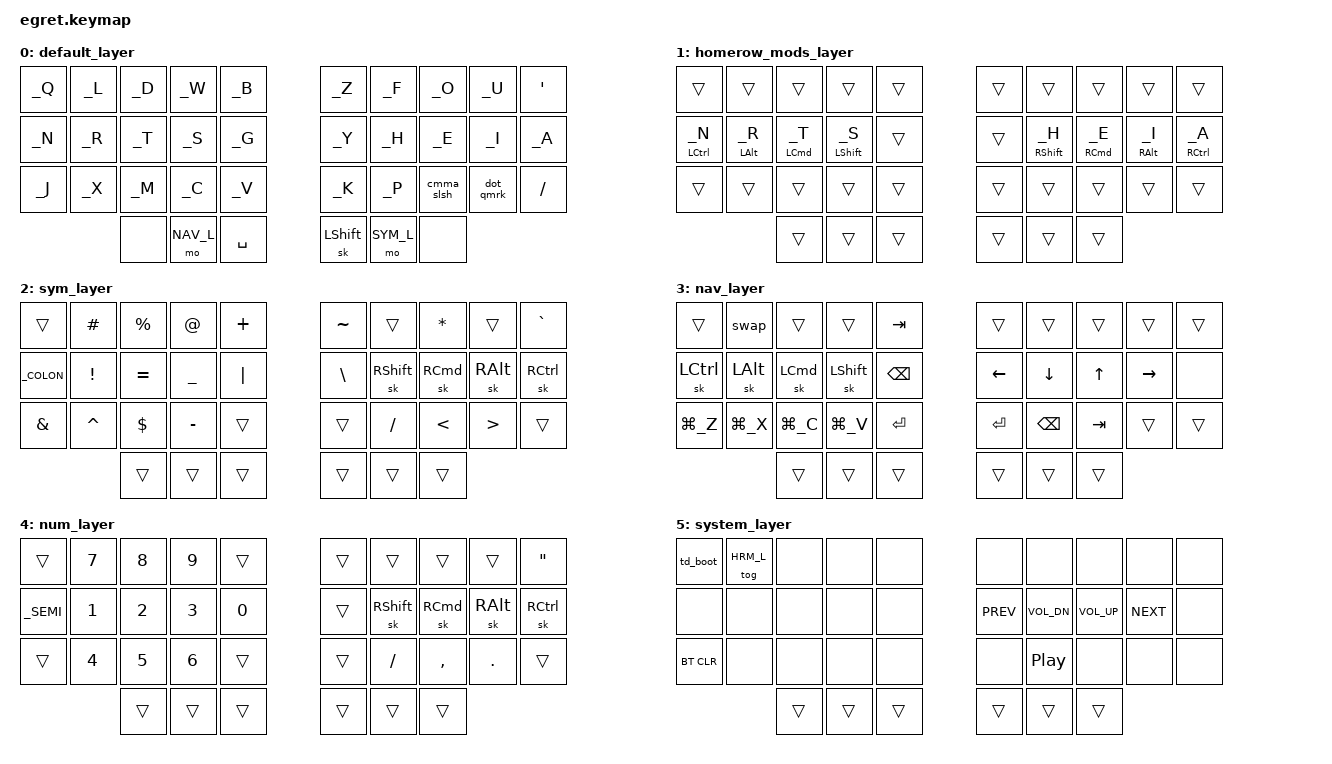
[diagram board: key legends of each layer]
/*
 * Copyright (c) 2022 The ZMK Contributors
 *
 * SPDX-License-Identifier: MIT
 */

#include <behaviors.dtsi>
#include <dt-bindings/zmk/keys.h>
#include <dt-bindings/zmk/rgb.h>
#include <dt-bindings/zmk/bt.h>

// Use Vallium layout but map it in the OS
#ifndef KEYMAP_DRAWER
#include "keys_vallium.h"
#endif

/* Key positions
0  1  2  3  4         5  6  7  8  9
10 11 12 13 14        15 16 17 18 19
20 21 22 23 24        25 26 27 28 29
         30 31 32  33 34 35             */

#define KEYS_L 0 1 2 3 4 10 11 12 13 14 20 21 22 23 24
#define KEYS_R 5 6 7 8 9 15 16 17 18 19 25 26 27 28 29
#define KEYS_T 30 31 33 33 34 35

#define DEF_L 0
#define HRM_L 1
#define SYM_L 2
#define NAV_L 3
#define NUM_L 4
#define SYS_L 5

#define NON_SYS_LAYERS DEF_L HRM_L SYM_L NAV_L NUM_L

// How long a key must be pressed to trigger Hold behavior
#define HRM_TERM 280
// If you press a tapped hold-tap again within quick-tap-ms milliseconds of the
// first press, it will always trigger the tap behavior
#define HRM_QUICK_TAP 175
// This effectively disables the hold-tap when typing quickly. As a rule of
// thumb, you want to set it to at least 10500/x where x is your (relaxed) WPM
#define HRM_IDLE (10500 / 50)

&sk {  // sticky-key config
    release-after-ms = <900>;  // release after 0.6s
    quick-release;             // no double capitalization when rolling keys
};

/ {
    behaviors {
        hml: homerow_mods_left {
            compatible = "zmk,behavior-hold-tap";
            #binding-cells = <2>;
            flavor = "balanced";
            tapping-term-ms = <HRM_TERM>;
            quick-tap-ms = <HRM_QUICK_TAP>;
            require-prior-idle-ms = <HRM_IDLE>;
            bindings = <&kp>, <&kp>;
            hold-trigger-key-positions = <KEYS_R KEYS_T>;
            hold-trigger-on-release;             // delay positional check until key-release
        };

        hmr: homerow_mods_right {
            compatible = "zmk,behavior-hold-tap";
            #binding-cells = <2>;
            flavor = "balanced";
            tapping-term-ms = <HRM_TERM>;
            quick-tap-ms = <HRM_QUICK_TAP>;
            require-prior-idle-ms = <HRM_IDLE>;
            bindings = <&kp>, <&kp>;
            hold-trigger-key-positions = <KEYS_L KEYS_T>;
            hold-trigger-on-release;             // delay positional check until key-release
        };

        cmma_slsh: comma_slash {
            compatible = "zmk,behavior-mod-morph";
            #binding-cells = <0>;
            bindings = <&kp COMMA>, <&kp FSLH>;
            mods = <(MOD_LSFT|MOD_RSFT)>;
            keep-mods = <(MOD_RSFT)>;
        };

        dot_qmrk: dot_question_mark {
            compatible = "zmk,behavior-mod-morph";
            #binding-cells = <0>;
            bindings = <&kp PERIOD>, <&kp QMARK>;
            mods = <(MOD_LSFT|MOD_RSFT)>;
            keep-mods = <(MOD_RSFT)>;
        };

        td_boot: double_tap_bootloader {
            compatible = "zmk,behavior-tap-dance";
            #binding-cells = <0>;
            tapping-term-ms = <200>;
            bindings = <&none>, <&bootloader>;
        };

        swap: swapper {
            compatible = "zmk,behavior-tri-state";
            #binding-cells = <0>;
            bindings = <&kt LCMD>, <&kp TAB>, <&kt LCMD>;
            // 0 is Q, 32 is shift
            ignored-key-positions = <0 32>;
        };
    };

    /* Key positions
    0  1  2  3  4         5  6  7  8  9
    10 11 12 13 14        15 16 17 18 19
    20 21 22 23 24        25 26 27 28 29
             30 31 32  33 34 35             */

    combos {
        compatible = "zmk,combos";

        vlbkt { key-positions = <1 11>; bindings = <&kp LBKT>; layers = <NON_SYS_LAYERS>; };
        vlpar { key-positions = <2 12>; bindings = <&kp LPAR>; layers = <NON_SYS_LAYERS>; };
        vlbrc { key-positions = <3 13>; bindings = <&kp LBRC>; layers = <NON_SYS_LAYERS>; };
        vrbrc { key-positions = <6 16>; bindings = <&kp RBRC>; layers = <NON_SYS_LAYERS>; };
        vrpar { key-positions = <7 17>; bindings = <&kp RPAR>; layers = <NON_SYS_LAYERS>; };
        vrbkt { key-positions = <8 18>; bindings = <&kp RBKT>; layers = <NON_SYS_LAYERS>; };

        cw  { key-positions = <20 29>; bindings = <&kp CAPSLOCK>; layers = <DEF_L>; timeout-ms = <100>; };

        esc { key-positions = <1 2 3>; bindings = <&kp ESC>; layers = <DEF_L HRM_L>; };
        ret { key-positions = <6 7 8>; bindings = <&kp RET>; layers = <DEF_L HRM_L>; };
        tab { key-positions = <21 22 23>; bindings = <&kp TAB>; layers = <DEF_L HRM_L>; };
        bsp { key-positions = <26 27 28>; bindings = <&kp BSPC>; layers = <DEF_L HRM_L>; };

        sall { key-positions = <21 22>; bindings = <&kp LG(_A)>; layers = <NAV_L>; };

        /* Activate system layer on inner thumb press */
        sys { key-positions = <32 33>; bindings = <&mo SYS_L>; require-prior-idle-ms = <HRM_IDLE>; };
    };

    conditional_layers {
        compatible = "zmk,conditional-layers";
        tri_layer {
            if-layers = <SYM_L NAV_L>;
            then-layer = <NUM_L>;
        };
    };

    macros {
      ZMK_MACRO(rf_arr, bindings = <&kp EQUAL &kp GT>;)
      ZMK_MACRO(rs_arr, bindings = <&kp MINUS &kp GT>;)
      ZMK_MACRO(lf_arr, bindings = <&kp LT &kp EQUAL>;)
      ZMK_MACRO(ls_arr, bindings = <&kp LT &kp MINUS>;)
      ZMK_MACRO(expipe, bindings = <&kp PIPE &kp GT &kp SPACE>;)
      ZMK_MACRO(eextag, bindings = <&kp LT &kp PRCNT &kp EQUAL &kp SPACE &kp SPACE &kp PRCNT &kp GT &kp LEFT &kp LEFT &kp LEFT>;)
    };

    keymap {
        compatible = "zmk,keymap";

        /* Mostly Gallium-v2 but without B on pinky, from:
           https://www.reddit.com/r/KeyboardLayouts/comments/15zu2rn/sturdy_vs_nerps/jxjq139/ */

        default_layer {
            bindings = <
                &kp _Q        &kp _L       &kp _D        &kp _W          &kp _B        &kp _Z           &kp _F          &kp _O       &kp _U       &kp SQT
                &kp _N        &kp _R       &kp _T        &kp _S          &kp _G        &kp _Y           &kp _H          &kp _E       &kp _I       &kp _A
                &kp _J        &kp _X       &kp _M        &kp _C          &kp _V        &kp _K           &kp _P          &cmma_slsh   &dot_qmrk    &kp FSLH
                                           &none         &mo NAV_L       &kp SPACE     &sk LSHFT        &mo SYM_L       &none
            >;
        };

        /* The idea here is to activate this when using Illustrator/Photoshop */
        homerow_mods_layer {
            bindings = <
                &trans        &trans       &trans        &trans          &trans        &trans           &trans          &trans       &trans       &trans
                &hml LCTRL _N &hml LALT _R &hml LCMD _T  &hml LSHFT _S   &trans        &trans           &hmr RSHFT _H   &hmr RCMD _E &hmr RALT _I &hmr RCTRL _A
                &trans        &trans       &trans        &trans          &trans        &trans           &trans          &trans       &trans       &trans
                                           &trans        &trans          &trans        &trans           &trans          &trans
            >;
        };

        sym_layer {
            bindings = <
                &trans     &kp HASH   &kp PRCNT   &kp AT          &kp PLUS      &kp TILDE       &trans         &kp STAR    &trans     &kp GRAVE
                &kp _COLON &kp EXCL   &kp EQUAL   &kp UNDER       &kp PIPE      &kp BSLH        &sk RSHFT      &sk RCMD    &sk RALT   &sk RCTRL
                &kp AMPS   &kp CARET  &kp DLLR    &kp MINUS       &trans        &trans          &kp FSLH       &kp LT      &kp GT     &trans
                                      &trans      &trans          &trans        &trans          &trans         &trans
            >;
        };

        nav_layer {
            bindings = <
                &trans      &swap       &trans       &trans          &kp TAB         &trans   &trans         &trans      &trans     &trans
                &sk LCTRL   &sk LALT    &sk LCMD     &sk LSHFT       &kp BSPC        &kp LEFT &kp DOWN       &kp UP      &kp RIGHT  &none
                &kp LG(_Z)  &kp LG(_X)  &kp LG(_C)   &kp LG(_V)      &kp RET         &kp RET  &kp BSPC       &kp TAB     &trans     &trans
                                        &trans       &trans          &trans          &trans   &trans         &trans
            >;
        };

        num_layer {
            bindings = <
                &trans     &kp N7     &kp N8      &kp N9          &trans        &trans          &trans         &trans      &trans     &kp DQT
                &kp _SEMI  &kp N1     &kp N2      &kp N3          &kp N0        &trans          &sk RSHFT      &sk RCMD    &sk RALT   &sk RCTRL
                &trans     &kp N4     &kp N5      &kp N6          &trans        &trans          &kp FSLH       &kp COMMA   &kp PERIOD &trans
                                      &trans      &trans          &trans        &trans          &trans         &trans
            >;
        };

        system_layer {
            bindings = <
                &td_boot   &tog HRM_L &none    &none    &none    &none           &none        &none        &none      &none
                &none      &none      &none    &none    &none    &kp C_PREV      &kp C_VOL_DN &kp C_VOL_UP &kp C_NEXT &none
                &bt BT_CLR &none      &none    &none    &none    &none           &kp C_PP     &none        &none      &none
                                      &trans   &trans   &trans   &trans          &trans       &trans
            >;
        };
    };
};
